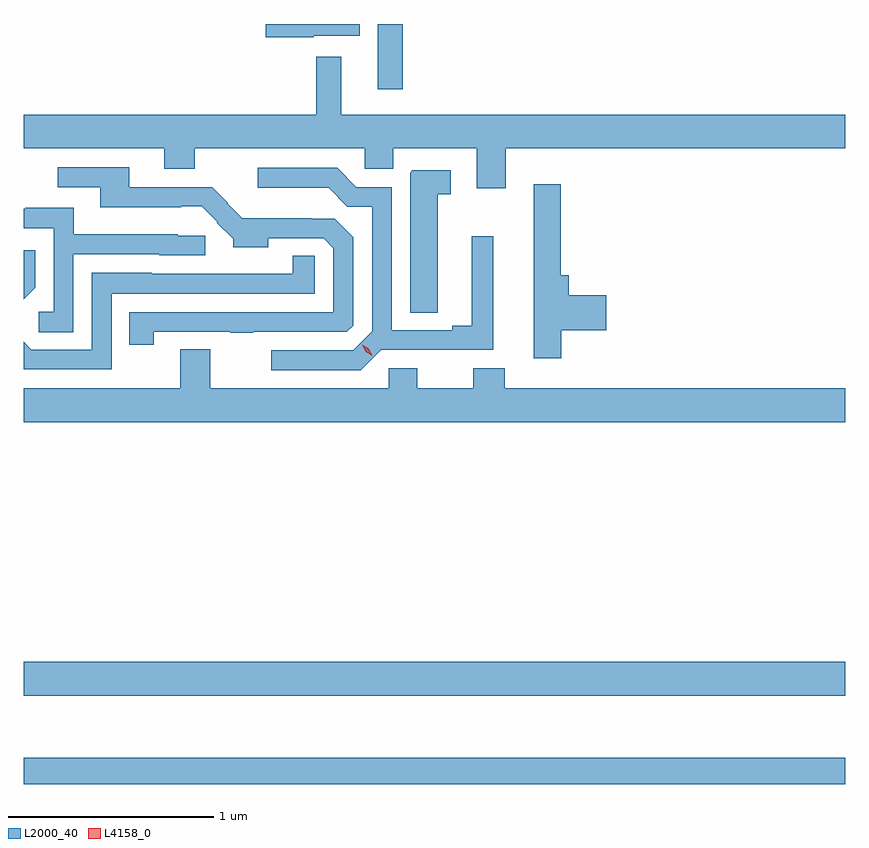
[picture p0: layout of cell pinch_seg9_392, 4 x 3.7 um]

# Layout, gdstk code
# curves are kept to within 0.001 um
import gdstk
lib = gdstk.Library(unit=1e-6, precision=1e-09)
def R(c, l, rs):  # rectangles x0, y0, x1, y1
    for r in rs: c.add(gdstk.rectangle(r[:2], r[2:], *l))
def P(c, l, *ps):  # polygons
    for p in ps: c.add(gdstk.Polygon(p, *l))
L2000_40 = (2000, 40)
L4158_0 = (4158, 0)

pinch_seg9_392 = lib.new_cell('pinch_seg9_392')
R(pinch_seg9_392, L2000_40, [(327.568,1207.978,331.568,1208.107), (327.568,1208.408,331.568,1208.572), (329.291,1211.361,329.413,1211.678)])
P(pinch_seg9_392, L2000_40, [(328.98,1211.621),(329.203,1211.621),(329.203,1211.678),(328.746,1211.678),(328.746,1211.614),(328.98,1211.614)],
  [(329.914,1211.072),(331.568,1211.072),(331.568,1211.236),(329.113,1211.236),(329.113,1211.518),(328.992,1211.518),(328.992,1211.236),(327.568,1211.236),(327.568,1211.072),(328.253,1211.072),(328.253,1210.973),(328.401,1210.973),(328.401,1211.072),(329.229,1211.072),(329.229,1210.974),(329.368,1210.974),(329.368,1211.072),(329.774,1211.072),(329.774,1210.878),(329.914,1210.878)],
  [(328.2,1210.179),(328.573,1210.179),(328.573,1210.174),(328.685,1210.174),(328.685,1210.179),(329.142,1210.179),(329.172,1210.209),(329.172,1210.641),(329.083,1210.73),(328.967,1210.73),(328.967,1210.732),(328.633,1210.732),(328.559,1210.805),(328.561,1210.807),(328.485,1210.884),(328.081,1210.884),(328.081,1210.98),(327.735,1210.98),(327.735,1210.884),(327.941,1210.884),(327.941,1210.787),(328.334,1210.787),(328.334,1210.79),(328.436,1210.79),(328.512,1210.713),(328.509,1210.71),(328.588,1210.632),(328.588,1210.592),(328.759,1210.592),(328.759,1210.635),(329.028,1210.635),(329.076,1210.587),(329.076,1210.275),(328.081,1210.275),(328.081,1210.116),(328.2,1210.116)],
  [(329.308,1210.092),(329.854,1210.092),(329.854,1210.645),(329.75,1210.645),(329.75,1210.208),(329.654,1210.208),(329.654,1210.188),(329.361,1210.188),(329.361,1210.884),(329.187,1210.884),(329.094,1210.977),(328.707,1210.977),(328.707,1210.88),(329.053,1210.88),(329.144,1210.789),(329.265,1210.789),(329.265,1210.182),(329.172,1210.089),(328.773,1210.089),(328.773,1209.993),(329.209,1209.993)],
  [(329.584,1210.849),(329.647,1210.849),(329.647,1210.965),(329.46,1210.965),(329.45,1210.955),(329.45,1210.273),(329.584,1210.273)],
  [(330.185,1210.187),(330.403,1210.187),(330.403,1210.358),(330.221,1210.358),(330.221,1210.456),(330.182,1210.456),(330.182,1210.897),(330.05,1210.897),(330.05,1210.05),(330.185,1210.05)],
  [(327.81,1210.557),(328.227,1210.557),(328.227,1210.551),(328.452,1210.551),(328.452,1210.647),(328.317,1210.647),(328.317,1210.654),(327.811,1210.654),(327.811,1210.783),(327.575,1210.783),(327.575,1210.779),(327.568,1210.779),(327.568,1210.683),(327.714,1210.683),(327.714,1210.278),(327.642,1210.278),(327.642,1210.177),(327.81,1210.177)],
  [(327.624,1210.394),(327.624,1210.576),(327.568,1210.576),(327.568,1210.338)],
  [(327.996,1210.365),(328.986,1210.365),(328.986,1210.55),(328.878,1210.55),(328.878,1210.462),(328.191,1210.461),(328.191,1210.468),(327.9,1210.468),(327.9,1210.092),(327.606,1210.092),(327.568,1210.13),(327.568,1209.998),(327.57,1209.996),(327.996,1209.996)],
  [(331.568,1209.904),(329.909,1209.904),(329.909,1210.003),(329.756,1210.003),(329.756,1209.904),(329.485,1209.904),(329.485,1210.002),(329.346,1210.002),(329.346,1209.904),(328.477,1209.904),(328.477,1210.094),(328.33,1210.094),(328.33,1209.904),(327.568,1209.904),(327.568,1209.74),(331.568,1209.74)])
P(pinch_seg9_392, L4158_0, [(329.264,1210.063),(329.233,1210.083),(329.216,1210.117),(329.216,1210.117),(329.216,1210.117),(329.247,1210.097),(329.265,1210.064),(329.265,1210.063)])

lib.write_gds('pinch_seg9_392.gds')
